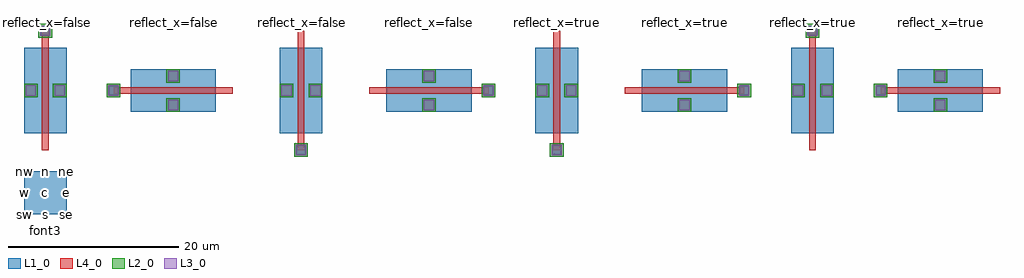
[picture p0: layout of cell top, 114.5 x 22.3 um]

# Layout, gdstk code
from math import pi, radians
import gdstk
lib = gdstk.Library(unit=1e-6, precision=1e-09)
def R(c, l, rs):  # rectangles x0, y0, x1, y1
    for r in rs: c.add(gdstk.rectangle(r[:2], r[2:], *l))
L1_0 = (1, 0)
L2_0 = (2, 0)
L3_0 = (3, 0)
L4_0 = (4, 0)

via = lib.new_cell('via')
R(via, L1_0, [(-0.5,-0.5,0.5,0.5)])
R(via, L2_0, [(-0.8,-0.8,0.8,0.8)])
R(via, L3_0, [(-0.6,-0.6,0.6,0.6)])

trans = lib.new_cell('trans')
R(trans, L1_0, [(-2.5,-5,2.5,5)])
trans.add(gdstk.FlexPath([(0,-7),(0,7)], 0.8, ends="flush", simple_path=True, layer=4, datatype=0))  # L4_0
trans.add(gdstk.Reference(via, (-1.7,0)))
trans.add(gdstk.Reference(via, (1.7,0)))
trans.add(gdstk.Reference(via, (0,7)))

top = lib.new_cell('top')
R(top, L1_0, [(-2.5,-2.5,2.5,2.5)])
top.add(gdstk.Reference(trans, (0,12)))
top.add(gdstk.Reference(trans, (15,12), rotation=pi/2))
top.add(gdstk.Reference(trans, (30,12), rotation=pi))
top.add(gdstk.Reference(trans, (45,12), rotation=3*pi/2))
top.add(gdstk.Reference(trans, (60,12), x_reflection=True))
top.add(gdstk.Reference(trans, (75,12), rotation=pi/2, x_reflection=True))
top.add(gdstk.Reference(trans, (90,12), rotation=pi, x_reflection=True))
top.add(gdstk.Reference(trans, (105,12), rotation=3*pi/2, x_reflection=True))
top.add(gdstk.Label('c', (0,0), layer=1, texttype=0))
top.add(gdstk.Label('n', (0,2.5), layer=1, texttype=0))
top.add(gdstk.Label('ne', (2.5,2.5), layer=1, texttype=0))
top.add(gdstk.Label('e', (2.5,0), layer=1, texttype=0))
top.add(gdstk.Label('se', (2.5,-2.5), layer=1, texttype=0))
top.add(gdstk.Label('s', (0,-2.5), layer=1, texttype=0))
top.add(gdstk.Label('sw', (-2.5,-2.5), layer=1, texttype=0))
top.add(gdstk.Label('w', (-2.5,0), layer=1, texttype=0))
top.add(gdstk.Label('nw', (-2.5,2.5), layer=1, texttype=0))
top.add(gdstk.Label('font0', (0,-3), layer=1, texttype=0))
top.add(gdstk.Label('font1', (0,-3.5), layer=1, texttype=0))
top.add(gdstk.Label('font2', (0,-4), layer=1, texttype=0))
top.add(gdstk.Label('font3', (0,-4.5), layer=1, texttype=0))
top.add(gdstk.Label('reflect_x=false', (0,20), layer=1, texttype=0))
top.add(gdstk.Label('angle=0.0', (0,20.5), layer=1, texttype=0))
top.add(gdstk.Label('reflect_x=false', (15,20), layer=1, texttype=0))
top.add(gdstk.Label('angle=90.0', (15,20.5), layer=1, texttype=0))
top.add(gdstk.Label('reflect_x=false', (30,20), layer=1, texttype=0))
top.add(gdstk.Label('angle=180.0', (30,20.5), layer=1, texttype=0))
top.add(gdstk.Label('reflect_x=false', (45,20), layer=1, texttype=0))
top.add(gdstk.Label('angle=270.0', (45,20.5), layer=1, texttype=0))
top.add(gdstk.Label('reflect_x=true', (60,20), layer=1, texttype=0))
top.add(gdstk.Label('angle=0.0', (60,20.5), layer=1, texttype=0))
top.add(gdstk.Label('reflect_x=true', (75,20), layer=1, texttype=0))
top.add(gdstk.Label('angle=90.0', (75,20.5), layer=1, texttype=0))
top.add(gdstk.Label('reflect_x=true', (90,20), layer=1, texttype=0))
top.add(gdstk.Label('angle=180.0', (90,20.5), layer=1, texttype=0))
top.add(gdstk.Label('reflect_x=true', (105,20), layer=1, texttype=0))
top.add(gdstk.Label('angle=270.0', (105,20.5), layer=1, texttype=0))

lib.write_gds('top.gds')
